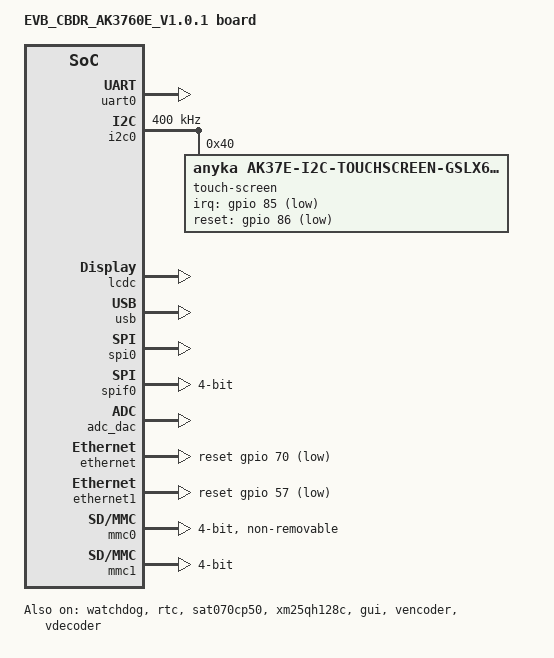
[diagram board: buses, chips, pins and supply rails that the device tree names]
/*
 * Anycloud37e dev board dts
 *
 * Copyright (C) 2020 Anyka(Guangzhou) Microelectronics Technology Co., Ltd.
 *
 * This program is free software; you can redistribute it and/or modify
 * it under the terms of the GNU General Public License as published by
 * the Free Software Foundation; either version 2 of the License, or
 * (at your option) any later version.
 *
 * This program is distributed in the hope that it will be useful,
 * but WITHOUT ANY WARRANTY; without even the implied warranty of
 * MERCHANTABILITY or FITNESS FOR A PARTICULAR PURPOSE.  See the
 * GNU General Public License for more details.
 */

/dts-v1/;
#include "anycloud_ak37e.dtsi"
#include "anycloud_norflash.dtsi"
#include "anycloud_nandflash.dtsi"
#include "anycloud_lcd.dtsi"

/ {
    compatible = "anyka,ak3760e";
    model = "EVB_CBDR_AK3760E_V1.0.1 board";
    version = "V1.0.00";
};

&gpio {
    /*
    * "anyka,function": func index, please refer to dt-bindings/pinctrl/ak_37e_pinctrl.h
    * "anyka,pull": configuration of the pins
    * bit[7:0]: pull up/down configuration
    *     bit[0]: pull up or pull down selection, 1 means select pull down, 0 means select pull up
    *     bit[4]: pull up or pull down enable, 1 means enable pull up&down function, 0 means disable fuction
    * !!! Notice that not all pin support pull up and pull down. Please refer to the programer's guide.
    * bit[15:8]: driver strength configuration.
    *     bit[9:8] drive strength.
    * bit[23:16]: input enable configuration
    *     bit[16]: 1 means enable input, 0 means disable input.
    * bit[31:24]: pin slew rate configuration
    *     bit[24]: 1 means enable slew rate, 0 means disable slew rate.
    * !!! Notice OTHER bits which not mentioned please set to 0.
    */

    /* LCD Panel backlight pin. */

    /*10 inch Touch Screen  */
    gslX680_pins: gslX680_pins {
        anyka,pins = <XGPIO_086 XGPIO_085>;
        anyka,function = <XGPIO_086_FUNC_GPIO86 XGPIO_085_FUNC_GPIO85>;
        anyka,pull = <0x00000010 0x00010000>;
    };

    i2c0_pins: i2c0_pins {
        anyka,pins = <XGPIO_030 XGPIO_031>;
        anyka,function = <XGPIO_030_FUNC_TWI0_SCL XGPIO_031_FUNC_TWI0_SDA>;
        anyka,pull = <0x1010000>;
    };

    /* i2c0_sleep_pins means: pull up or pull down disable; ie disable */
    i2c0_sleep_pins: i2c0_sleep_pins {
        anyka,pins = <XGPIO_030 XGPIO_031>;
        anyka,function = <XGPIO_030_FUNC_GPIO30 XGPIO_031_FUNC_GPIO31>;
        anyka,pull = <0x0000000>;
    };

    i2c2_pins: i2c2_pins {
        anyka,pins = <XGPIO_079 XGPIO_078>;
        anyka,function = <XGPIO_079_FUNC_TWI2_SDA XGPIO_078_FUNC_TWI2_SCL>;
        anyka,pull = <0x1010010>;
    };

    /* i2c2_sleep_pins means: pull up or pull down disable; ie disable */
    i2c2_sleep_pins: i2c2_sleep_pins {
        anyka,pins = <XGPIO_079 XGPIO_078>;
        anyka,function = <XGPIO_079_FUNC_GPIO79 XGPIO_078_FUNC_GPIO78>;
        anyka,pull = <0x0000000>;
    };

    lcd_rgb_pins: lcd_rgb_pins {
        anyka,pins = <XGPIO_027
                        XGPIO_026
                        XGPIO_025
                        XGPIO_024
                        XGPIO_028
                        XGPIO_029
                        XGPIO_055
                        XGPIO_054
                        XGPIO_053
                        XGPIO_052
                        XGPIO_051
                        XGPIO_050
                        XGPIO_049
                        XGPIO_048
                        XGPIO_047
                        XGPIO_046
                        XGPIO_045
                        XGPIO_044
                        XGPIO_043
                        XGPIO_042
                        XGPIO_041
                        XGPIO_040
                        XGPIO_039
                        XGPIO_038
                        XGPIO_037
                        XGPIO_036
                        XGPIO_035
                        XGPIO_034>;
        anyka,function = <XGPIO_027_FUNC_RGB_D23
                            XGPIO_026_FUNC_RGB_D22
                            XGPIO_025_FUNC_RGB_D21
                            XGPIO_024_FUNC_RGB_D20
                            XGPIO_028_FUNC_RGB_D19
                            XGPIO_029_FUNC_RGB_D18
                            XGPIO_055_FUNC_RGB_D17
                            XGPIO_054_FUNC_RGB_D16
                            XGPIO_053_FUNC_RGB_D15
                            XGPIO_052_FUNC_RGB_D14
                            XGPIO_051_FUNC_RGB_D13
                            XGPIO_050_FUNC_RGB_D12
                            XGPIO_049_FUNC_RGB_D11
                            XGPIO_048_FUNC_RGB_D10
                            XGPIO_047_FUNC_RGB_D9
                            XGPIO_046_FUNC_RGB_D8
                            XGPIO_045_FUNC_RGB_D7
                            XGPIO_044_FUNC_RGB_D6
                            XGPIO_043_FUNC_RGB_D5
                            XGPIO_042_FUNC_RGB_D4
                            XGPIO_041_FUNC_RGB_D3
                            XGPIO_040_FUNC_RGB_D2
                            XGPIO_039_FUNC_RGB_D1
                            XGPIO_038_FUNC_RGB_D0
                            XGPIO_037_FUNC_RGB_VOPCLK
                            XGPIO_036_FUNC_RGB_VOHSYNC
                            XGPIO_035_FUNC_RGB_VOVSYNC
                            XGPIO_034_FUNC_RGB_VOGATE
                            >;
        anyka,pull = <0x00000110
                        0x00000110
                        0x00000110
                        0x00000110
                        0x00000110
                        0x00000110
                        0x00000110
                        0x00000110
                        0x00000110
                        0x00000110
                        0x00000110
                        0x00000110
                        0x00000110
                        0x00000110
                        0x00000110
                        0x00000110
                        0x00000110
                        0x00000110
                        0x00000110
                        0x00000110
                        0x00000110
                        0x00000110
                        0x00000110
                        0x00000110
                        0x00000010
                        0x00000010
                        0x00000010
                        0x00000010>;
    };

    lcd_rgb_pins_sleep: lcd_rgb_pins_sleep {
        anyka,pins = <XGPIO_027
                        XGPIO_026
                        XGPIO_025
                        XGPIO_024
                        XGPIO_028
                        XGPIO_029
                        XGPIO_055
                        XGPIO_054
                        XGPIO_053
                        XGPIO_052
                        XGPIO_051
                        XGPIO_050
                        XGPIO_049
                        XGPIO_048
                        XGPIO_047
                        XGPIO_046
                        XGPIO_045
                        XGPIO_044
                        XGPIO_043
                        XGPIO_042
                        XGPIO_041
                        XGPIO_040
                        XGPIO_039
                        XGPIO_038
                        XGPIO_037
                        XGPIO_036
                        XGPIO_035
                        XGPIO_034>;
        anyka,function = <XGPIO_027_FUNC_GPIO27
                            XGPIO_026_FUNC_GPIO26
                            XGPIO_025_FUNC_GPIO25
                            XGPIO_024_FUNC_GPIO24
                            XGPIO_028_FUNC_GPIO28
                            XGPIO_029_FUNC_GPIO29
                            XGPIO_055_FUNC_GPIO55
                            XGPIO_054_FUNC_GPIO54
                            XGPIO_053_FUNC_GPIO53
                            XGPIO_052_FUNC_GPIO52
                            XGPIO_051_FUNC_GPIO51
                            XGPIO_050_FUNC_GPIO50
                            XGPIO_049_FUNC_GPIO49
                            XGPIO_048_FUNC_GPIO48
                            XGPIO_047_FUNC_GPIO47
                            XGPIO_046_FUNC_GPIO46
                            XGPIO_045_FUNC_GPIO45
                            XGPIO_044_FUNC_GPIO44
                            XGPIO_043_FUNC_GPIO43
                            XGPIO_042_FUNC_GPIO42
                            XGPIO_041_FUNC_GPIO41
                            XGPIO_040_FUNC_GPIO40
                            XGPIO_039_FUNC_GPIO39
                            XGPIO_038_FUNC_GPIO38
                            XGPIO_037_FUNC_GPIO37
                            XGPIO_036_FUNC_GPIO36
                            XGPIO_035_FUNC_GPIO35
                            XGPIO_034_FUNC_GPIO34
                            >;
        anyka,pull = <0x00000000>;
    };

    mci0_pins: mci0_pins {
        anyka,pins = <XGPIO_076 XGPIO_077 XGPIO_073 XGPIO_071 XGPIO_069 XGPIO_068>;
        anyka,function = <  XGPIO_076_FUNC_SD0_D1
                            XGPIO_077_FUNC_SD0_D0
                            XGPIO_073_FUNC_SD0_CLK
                            XGPIO_071_FUNC_SD0_CMD
                            XGPIO_069_FUNC_SD0_D3
                            XGPIO_068_FUNC_SD0_D2>;
        anyka,pull = <0x00010010 0x00010010 0x00010001 0x00010010 0x00010010 0x00010010>;
    };

    /* mci0_idle_pins  means: pull up or pull down disable; ie disable */
    mci0_idle_pins: mci0_idle_pins {
        anyka,pins = <XGPIO_076 XGPIO_077 XGPIO_073 XGPIO_071 XGPIO_069 XGPIO_068>;
        anyka,function = <  XGPIO_076_FUNC_GPIO76
                            XGPIO_077_FUNC_GPIO77
                            XGPIO_073_FUNC_GPIO73
                            XGPIO_071_FUNC_GPIO71
                            XGPIO_069_FUNC_GPIO69
                            XGPIO_068_FUNC_GPIO68>;
        anyka,pull = <0x00000000>;
    };

    wifi_en_pins: wifi_en_pins {
        anyka,pins = <XGPIO_072>;
        anyka,function = <XGPIO_072_FUNC_GPIO72>;
        anyka,pull = <0x1010310>;
    };

    mci1_pins: mci1_pins {
        anyka,pins = <XGPIO_016 XGPIO_017 XGPIO_018 XGPIO_019 XGPIO_020 XGPIO_021>;
        anyka,function = <XGPIO_016_FUNC_SD1_D1
                            XGPIO_017_FUNC_SD1_D0
                            XGPIO_018_FUNC_SD1_MCLK
                            XGPIO_019_FUNC_SD1_CMD
                            XGPIO_020_FUNC_SD1_D3
                            XGPIO_021_FUNC_SD1_D2>;
        anyka,pull = <0x00010010 0x00010010 0x00010001 0x00010010 0x00010010 0x00010010>;
    };

    /* mci1_idle_pins  means: pull up or pull down disable; ie disable */
    mci1_idle_pins: mci1_idle_pins {
        anyka,pins = <XGPIO_016 XGPIO_017 XGPIO_018 XGPIO_019 XGPIO_020 XGPIO_021>;
        anyka,function = <XGPIO_016_FUNC_GPIO16
                            XGPIO_017_FUNC_GPIO17
                            XGPIO_018_FUNC_GPIO18
                            XGPIO_019_FUNC_GPIO19
                            XGPIO_020_FUNC_GPIO20
                            XGPIO_021_FUNC_GPIO21>;
        anyka,pull = <0x00000000>;
    };

    tf_det_pins: tf_det_pins{
        anyka,pins = <XGPIO_083>;
        anyka,function = <XGPIO_083_FUNC_GPIO83>;
        anyka,pull = <0x1010310>;
    };

    tf_en_pins: tf_en_pins {
        anyka,pins = <XGPIO_032>;
        anyka,function = <XGPIO_032_FUNC_GPIO32>;
        anyka,pull = <0x1010310>;
    };

    lcd_bl_pins: lcd_bl_pins{
        anyka,pins = <XGPIO_082>;
        anyka,function = <XGPIO_082_FUNC_GPIO82>;
        anyka,pull = <0x1010310>;
    };
};

&uart0 {
    pinctrl-names = "default", "sleep";
    pinctrl-0 = <&uart0_pins>;
    pinctrl-1 = <&uart0_pins_sleep>;
    status = "okay";
};

&watchdog {
    /*max feed dog time = 357s, default setting time = 10s. */
    def_heartbeat = <10>;
    status = "okay";
};

&rtc {
    /*
     * rtc osc_source_select, 1 means INTERNAL RC OSC, 0 means EXTERNAL XTAL
     * if internal RC OSC is used to generate 32KH,time adjustment should be setting.(basic unit: ms)
     */
    osc-select = <0>;
    adjust-time = <1000>;
    //adjust-based-on-timer;
    status = "okay";
};

&i2c0 {
    pinctrl-names = "default","sleep";
    pinctrl-0 = <&i2c0_pins>;
    pinctrl-1 = <&i2c0_sleep_pins>;

    clock-frequency = <400000>;
    sda-delay = <100>;
    status = "okay";
    #address-cells = <1>;
    #size-cells = <0>;

    touch-screen@40 {
        compatible = "anyka,ak37e-i2c-touchscreen-gslX680";
        reg = <0x40>;

        /* 10 inch MIPI touch-pane irq and reset gpio setting */
        pinctrl-names = "default";
        pinctrl-0 = <&gslX680_pins>;
        irq-gpio = <&gpio 85 1>;
        reset-gpio = <&gpio 86 1>;
        TP_MAX_X = <1024>;
        TP_MAX_Y = <600>;
        status = "okay";
      };

};

/* RGB panel*/
&lcdc {
    pinctrl-names = "default","sleep";
    pinctrl-0 = <&lcd_rgb_pins &lcd_bl_pins>;
    pinctrl-1 = <&lcd_rgb_pins_sleep>;

    //pwr-gpio = <&gpio 82 1>;
    //reset-pins = <&gpio 82 1>;
    backlight-gpio = <&gpio 82 1>;

    lcd-logo-width = <454>;
    lcd-logo-height = <61>;
    //[fmt1:fmt0] 00 16bits input(RGB565 or BGR565)
    //[fmt1:fmt0] 01 24bits input(RGB888 or BGR888)
    //[fmt1:fmt0] 10 or 11 32bits input(ARGB888 ABGR888 RGBA888 BGRA888)
    lcd-logo-fmt0 = <1>;
    lcd-logo-fmt1 = <0>;
    lcd-logo-rgb-seq = <0>; //0 for BGR, 1 for RGB
 
    lcd-fb-type = <1>; //0:single buffer; 1:double buffer
    status = "okay";
};

/* 7 inch rgb */
&sat070cp50 {
    //panel-pclk-div = <9>;
    status = "okay";
};

&usb {
    status = "okay";
};

&spi0 {
    pinctrl-names = "default","sleep";
    pinctrl-0 = <&spiflash_pins >;
    pinctrl-1 = <&spiflash_pins_sleep>;
    spi-bus-frequency = <80000000>;
    /*
     * cap-spi-highspeed;
     * if defined, means high speed controller(Maximum 80M/s);
     * if not, means normal speed controller(below 60M/s)
     */
    cap-spi-highspeed;
    status = "okay";
};

&spif0 {
    /* spi flash data bus width:
    ** 1 means 1 wire mode.
    ** 2 means 2 wire mode
    ** 4 means 4 wire mode.
    ** default: 4 wire mode.
    **/
    bus-width = <4>;
    status = "okay";
};

&xm25qh128c{
    status = "okay";
};


&adc_dac {
    pinctrl-names = "default", "sleep", "pdm_pins";
   // pinctrl-0 = <&speak_pins>;
   // pinctrl-1 = <&speak_pins_sleep>;
    //pinctrl-2 = <&pdm_pins>;
   // speak-gpios = <&gpio XGPIO_072 1>;
    /*
    * The level of speak-gpios votage for power on audio: 0=low, 1=high
    */
    speak-gpios-en = <1>;
    status = "okay";

    dev0 {
        snd-dev = <SND_CARD_DAC_PLAYBACK>;
        snd-type = <AK_PCM_DEV_PLAYBACK>;
    };

    dev1 {
        snd-dev = <SND_CARD_ADC_CAPTURE>;
        snd-type = <AK_PCM_DEV_CAPTURE>;
    };

    dev2 {
        snd-dev = <SND_CARD_DAC_LOOPBACK>;
        snd-type = <AK_PCM_DEV_LOOPBACK>;
    };
};


&ethernet {
    pinctrl-names = "default", "sleep";
    pinctrl-0 = <&ethernet_rmii0_pins &ethernet_rmii0_rst_pins>;
    pinctrl-1 = <&ethernet_rmii0_pins_sleep &ethernet_rmii0_rst_pins_sleep>;
    reset-gpios = <&gpio 70 1>;
    phy-address = <1>;
    status = "okay";
};


&ethernet1 {
    pinctrl-names = "default", "sleep";
    pinctrl-0 = <&ethernet_rmii1_pins &ethernet_rmii1_rst_pins>;
    pinctrl-1 = <&ethernet_rmii1_pins_sleep &ethernet_rmii1_rst_pins_sleep>;
    reset-gpios = <&gpio 57 1>;
    phy-address = <1>;
    status = "okay";
};

&gui{
    status = "okay";
};

&mmc0 {
    bus-width = <0x4>;
    max-frequency = <50000000>;
    /*
     *  detect mode:
     *  (1) non-removable;
     *  (2) detect-gpio/detect-gpios: card detect using gpio
     *      for example:
     *      detect-gpio = <&gpio 76 1>;  or detect-gpios = <&gpio 76 1>;
     *  (3) cd_clk: card detect using MCLK
     */
    non-removable;
    /* if support highspeed, using cap-sd-highspeed */
    cap-sd-highspeed;
    /* if support sdio, using cap-sdio-irq*/
    cap-sdio-irq;
    pinctrl-names = "default","idle";

    /*
    * support sdio wifi circuit enable function
    */
    pinctrl-0 = <&mci0_pins>,<&wifi_en_pins>;
    pinctrl-1 = <&mci0_idle_pins>;
    power-pins = <&gpio 72 1>;  //power-pins is which wifi_en_pins describes
   // rst-pins =   <&gpio 71 1>;  //power-pins is which wifi_rst_pins describes
    status = "okay";
};

&mmc1 {
    bus-width = <0x4>;
    max-frequency = <50000000>;
    /*
     *  detect mode:
     *  (1) non-removable;
     *  (2) detect-gpio/detect-gpios: card detect using gpio
     *      for example:
     *      detect-gpio = <&gpio 76 1>;  or detect-gpios = <&gpio 76 1>;
     *  (3) cd_clk: card detect using MCLK
     */
    detect-gpio = <&gpio 83 1>;
    /* if support highspeed, using cap-sd-highspeed */
    cap-sd-highspeed;
    pinctrl-names = "default","idle";
    /*pinctrl-0 = <&mci1_pins>,<&tf_en_pins>;*/
    pinctrl-0 = <&mci1_pins>,<&tf_en_pins>,<&tf_det_pins>;
    pinctrl-1 = <&mci1_idle_pins>;
    /*
    * support tf card circuit enable function
    */
    power-pins = <&gpio 32 1>;      //power-pins is which tf_en_pins describes
   // power-inverted;
    status = "okay";
};

&vencoder {
    status = "okay";
};

&vdecoder{
    status = "okay";
};

&i2c2 {
    pinctrl-names = "default","sleep";
    pinctrl-0 = <&i2c2_pins>;
    pinctrl-1 = <&i2c2_sleep_pins>;

    clock-frequency = <400000>;
    sda-delay = <100>;
    status = "disable";
    #address-cells = <1>;
    #size-cells = <0>;
};
